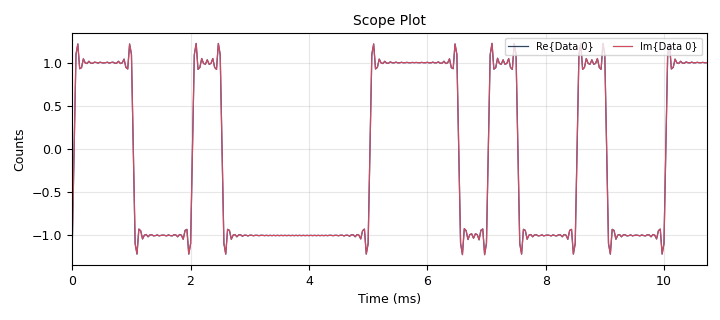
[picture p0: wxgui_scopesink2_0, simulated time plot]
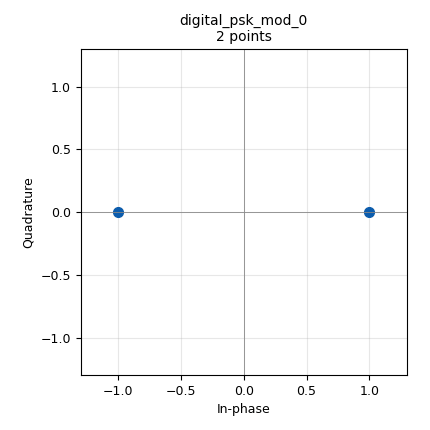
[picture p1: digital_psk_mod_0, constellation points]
<?xml version='1.0' encoding='utf-8'?>
<flow_graph>
<block>
<key>options</key>
<param><key>id</key><value>top_block</value></param>
<param><key>generate_options</key><value>wx_gui</value></param>
<param><key>category</key><value>Custom</value></param>
</block>
<block>
<key>variable</key>
<param><key>id</key><value>psk_arity</value></param>
<param><key>value</key><value>2</value></param>
</block>
<block>
<key>variable</key>
<param><key>id</key><value>samp_rate</value></param>
<param><key>value</key><value>32000</value></param>
</block>
<block>
<key>notebook</key>
<param><key>id</key><value>notebook_0</value></param>
<param><key>style</key><value>wx.NB_TOP</value></param>
<param><key>labels</key><value>['mod', 'above', 'below','demod']</value></param>
</block>
<block>
<key>analog_random_source_x</key>
<param><key>id</key><value>analog_random_source_x_0</value></param>
<param><key>type</key><value>byte</value></param>
<param><key>min</key><value>0</value></param>
<param><key>max</key><value>2</value></param>
<param><key>num_samps</key><value>1000</value></param>
<param><key>repeat</key><value>True</value></param>
</block>
<block>
<key>virtual_sink</key>
<param><key>id</key><value>virtual_sink_0</value></param>
<param><key>stream_id</key><value>mod</value></param>
</block>
<block>
<key>virtual_source</key>
<param><key>id</key><value>virtual_source_0</value></param>
<param><key>stream_id</key><value>mod</value></param>
</block>
<block>
<key>variable_slider</key>
<param><key>id</key><value>noise_voltage</value></param>
<param><key>label</key><value></value></param>
<param><key>value</key><value>0</value></param>
<param><key>min</key><value>0</value></param>
<param><key>max</key><value>2</value></param>
<param><key>num_steps</key><value>100</value></param>
<param><key>style</key><value>wx.SL_HORIZONTAL</value></param>
<param><key>converver</key><value>float_converter</value></param>
</block>
<block>
<key>variable_slider</key>
<param><key>id</key><value>threshold</value></param>
<param><key>label</key><value></value></param>
<param><key>value</key><value>10</value></param>
<param><key>min</key><value>0</value></param>
<param><key>max</key><value>100</value></param>
<param><key>num_steps</key><value>100</value></param>
<param><key>style</key><value>wx.SL_HORIZONTAL</value></param>
<param><key>converver</key><value>float_converter</value></param>
</block>
<block>
<key>wxgui_scopesink2</key>
<param><key>id</key><value>wxgui_scopesink2_0</value></param>
<param><key>type</key><value>complex</value></param>
<param><key>title</key><value>Scope Plot</value></param>
<param><key>samp_rate</key><value>samp_rate</value></param>
<param><key>v_scale</key><value>0</value></param>
<param><key>v_offset</key><value>0</value></param>
<param><key>t_scale</key><value>0</value></param>
<param><key>ac_couple</key><value>False</value></param>
<param><key>xy_mode</key><value>False</value></param>
<param><key>num_inputs</key><value>1</value></param>
<param><key>notebook</key><value>notebook_0,0</value></param>
<param><key>trig_mode</key><value>wxgui.TRIG_MODE_AUTO</value></param>
<param><key>y_axis_label</key><value>Counts</value></param>
</block>
<block>
<key>virtual_source</key>
<param><key>id</key><value>virtual_source_2</value></param>
<param><key>stream_id</key><value>below</value></param>
</block>
<block>
<key>wxgui_scopesink2</key>
<param><key>id</key><value>wxgui_scopesink2_0_0</value></param>
<param><key>type</key><value>complex</value></param>
<param><key>title</key><value>Scope Plot</value></param>
<param><key>samp_rate</key><value>samp_rate</value></param>
<param><key>v_scale</key><value>0</value></param>
<param><key>v_offset</key><value>0</value></param>
<param><key>t_scale</key><value>0</value></param>
<param><key>ac_couple</key><value>False</value></param>
<param><key>xy_mode</key><value>False</value></param>
<param><key>num_inputs</key><value>1</value></param>
<param><key>notebook</key><value>notebook_0,2</value></param>
<param><key>trig_mode</key><value>wxgui.TRIG_MODE_AUTO</value></param>
<param><key>y_axis_label</key><value>Counts</value></param>
</block>
<block>
<key>wxgui_scopesink2</key>
<param><key>id</key><value>wxgui_scopesink2_0_1</value></param>
<param><key>type</key><value>complex</value></param>
<param><key>title</key><value>Scope Plot</value></param>
<param><key>samp_rate</key><value>samp_rate</value></param>
<param><key>v_scale</key><value>0</value></param>
<param><key>v_offset</key><value>0</value></param>
<param><key>t_scale</key><value>0</value></param>
<param><key>ac_couple</key><value>False</value></param>
<param><key>xy_mode</key><value>False</value></param>
<param><key>num_inputs</key><value>1</value></param>
<param><key>notebook</key><value>notebook_0,1</value></param>
<param><key>trig_mode</key><value>wxgui.TRIG_MODE_AUTO</value></param>
<param><key>y_axis_label</key><value>Counts</value></param>
</block>
<block>
<key>wxgui_scopesink2</key>
<param><key>id</key><value>wxgui_scopesink2_0_1_0</value></param>
<param><key>type</key><value>float</value></param>
<param><key>title</key><value>Scope Plot</value></param>
<param><key>samp_rate</key><value>samp_rate</value></param>
<param><key>v_scale</key><value>0</value></param>
<param><key>v_offset</key><value>0</value></param>
<param><key>t_scale</key><value>0</value></param>
<param><key>ac_couple</key><value>False</value></param>
<param><key>xy_mode</key><value>False</value></param>
<param><key>num_inputs</key><value>1</value></param>
<param><key>notebook</key><value>notebook_0,3</value></param>
<param><key>trig_mode</key><value>wxgui.TRIG_MODE_AUTO</value></param>
<param><key>y_axis_label</key><value>Counts</value></param>
</block>
<block>
<key>blocks_throttle</key>
<param><key>id</key><value>blocks_throttle_0</value></param>
<param><key>type</key><value>byte</value></param>
<param><key>samples_per_second</key><value>samp_rate</value></param>
</block>
<block>
<key>channels_channel_model</key>
<param><key>id</key><value>channels_channel_model_0</value></param>
<param><key>noise_voltage</key><value>noise_voltage</value></param>
<param><key>freq_offset</key><value>0.0</value></param>
<param><key>epsilon</key><value>1.0</value></param>
<param><key>taps</key><value>1.0 + 1.0j</value></param>
<param><key>seed</key><value>0</value></param>
</block>
<block>
<key>blocks_char_to_float</key>
<param><key>id</key><value>blocks_char_to_float_0</value></param>
<param><key>scale</key><value>1</value></param>
</block>
<block>
<key>virtual_source</key>
<param><key>id</key><value>virtual_source_1</value></param>
<param><key>stream_id</key><value>above</value></param>
</block>
<block>
<key>digital_psk_mod</key>
<param><key>id</key><value>digital_psk_mod_0</value></param>
<param><key>constellation_points</key><value>psk_arity</value></param>
<param><key>mod_code</key><value>"gray"</value></param>
<param><key>differential</key><value>True</value></param>
<param><key>samples_per_symbol</key><value>2</value></param>
<param><key>excess_bw</key><value>0.35</value></param>
</block>
<block>
<key>digital_psk_demod</key>
<param><key>id</key><value>digital_psk_demod_0</value></param>
<param><key>constellation_points</key><value>psk_arity</value></param>
<param><key>differential</key><value>True</value></param>
<param><key>samples_per_symbol</key><value>2</value></param>
<param><key>excess_bw</key><value>0.35</value></param>
<param><key>freq_bw</key><value>6.28/100.0</value></param>
<param><key>timing_bw</key><value>6.28/100.0</value></param>
<param><key>phase_bw</key><value>6.28/100.0</value></param>
<param><key>mod_code</key><value>"gray"</value></param>
</block>
<block>
<key>virtual_sink</key>
<param><key>id</key><value>virtual_sink_2</value></param>
<param><key>stream_id</key><value>above</value></param>
</block>
<block>
<key>virtual_sink</key>
<param><key>id</key><value>virtual_sink_1</value></param>
<param><key>stream_id</key><value>below</value></param>
</block>
<block>
<key>tagutils_tag_thresh_switch</key>
<param><key>id</key><value>tagutils_tag_thresh_switch_0</value></param>
<param><key>type</key><value>complex</value></param>
<param><key>debug</key><value>True</value></param>
<param><key>above_if_equal</key><value>True</value></param>
<param><key>filter</key><value>"snr"</value></param>
<param><key>threshold</key><value>threshold</value></param>
</block>
<block>
<key>digital_mpsk_snr_est_cc</key>
<param><key>id</key><value>digital_mpsk_snr_est_cc_0</value></param>
<param><key>type</key><value>2</value></param>
<param><key>tag_nsamples</key><value>10000</value></param>
<param><key>alpha</key><value>0.001</value></param>
</block>
<connection><source_block_id>analog_random_source_x_0</source_block_id><sink_block_id>blocks_throttle_0</sink_block_id><source_key>0</source_key><sink_key>0</sink_key></connection>
<connection><source_block_id>digital_mpsk_snr_est_cc_0</source_block_id><sink_block_id>tagutils_tag_thresh_switch_0</sink_block_id><source_key>0</source_key><sink_key>0</sink_key></connection>
<connection><source_block_id>channels_channel_model_0</source_block_id><sink_block_id>virtual_sink_0</sink_block_id><source_key>0</source_key><sink_key>0</sink_key></connection>
<connection><source_block_id>channels_channel_model_0</source_block_id><sink_block_id>wxgui_scopesink2_0</sink_block_id><source_key>0</source_key><sink_key>0</sink_key></connection>
<connection><source_block_id>virtual_source_0</source_block_id><sink_block_id>digital_mpsk_snr_est_cc_0</sink_block_id><source_key>0</source_key><sink_key>0</sink_key></connection>
<connection><source_block_id>virtual_source_2</source_block_id><sink_block_id>wxgui_scopesink2_0_0</sink_block_id><source_key>0</source_key><sink_key>0</sink_key></connection>
<connection><source_block_id>virtual_source_1</source_block_id><sink_block_id>wxgui_scopesink2_0_1</sink_block_id><source_key>0</source_key><sink_key>0</sink_key></connection>
<connection><source_block_id>blocks_char_to_float_0</source_block_id><sink_block_id>wxgui_scopesink2_0_1_0</sink_block_id><source_key>0</source_key><sink_key>0</sink_key></connection>
<connection><source_block_id>blocks_throttle_0</source_block_id><sink_block_id>digital_psk_mod_0</sink_block_id><source_key>0</source_key><sink_key>0</sink_key></connection>
<connection><source_block_id>digital_psk_mod_0</source_block_id><sink_block_id>channels_channel_model_0</sink_block_id><source_key>0</source_key><sink_key>0</sink_key></connection>
<connection><source_block_id>digital_psk_demod_0</source_block_id><sink_block_id>blocks_char_to_float_0</sink_block_id><source_key>0</source_key><sink_key>0</sink_key></connection>
<connection><source_block_id>virtual_source_1</source_block_id><sink_block_id>digital_psk_demod_0</sink_block_id><source_key>0</source_key><sink_key>0</sink_key></connection>
<connection><source_block_id>tagutils_tag_thresh_switch_0</source_block_id><sink_block_id>virtual_sink_2</sink_block_id><source_key>0</source_key><sink_key>0</sink_key></connection>
<connection><source_block_id>tagutils_tag_thresh_switch_0</source_block_id><sink_block_id>virtual_sink_1</sink_block_id><source_key>1</source_key><sink_key>0</sink_key></connection>
</flow_graph>
